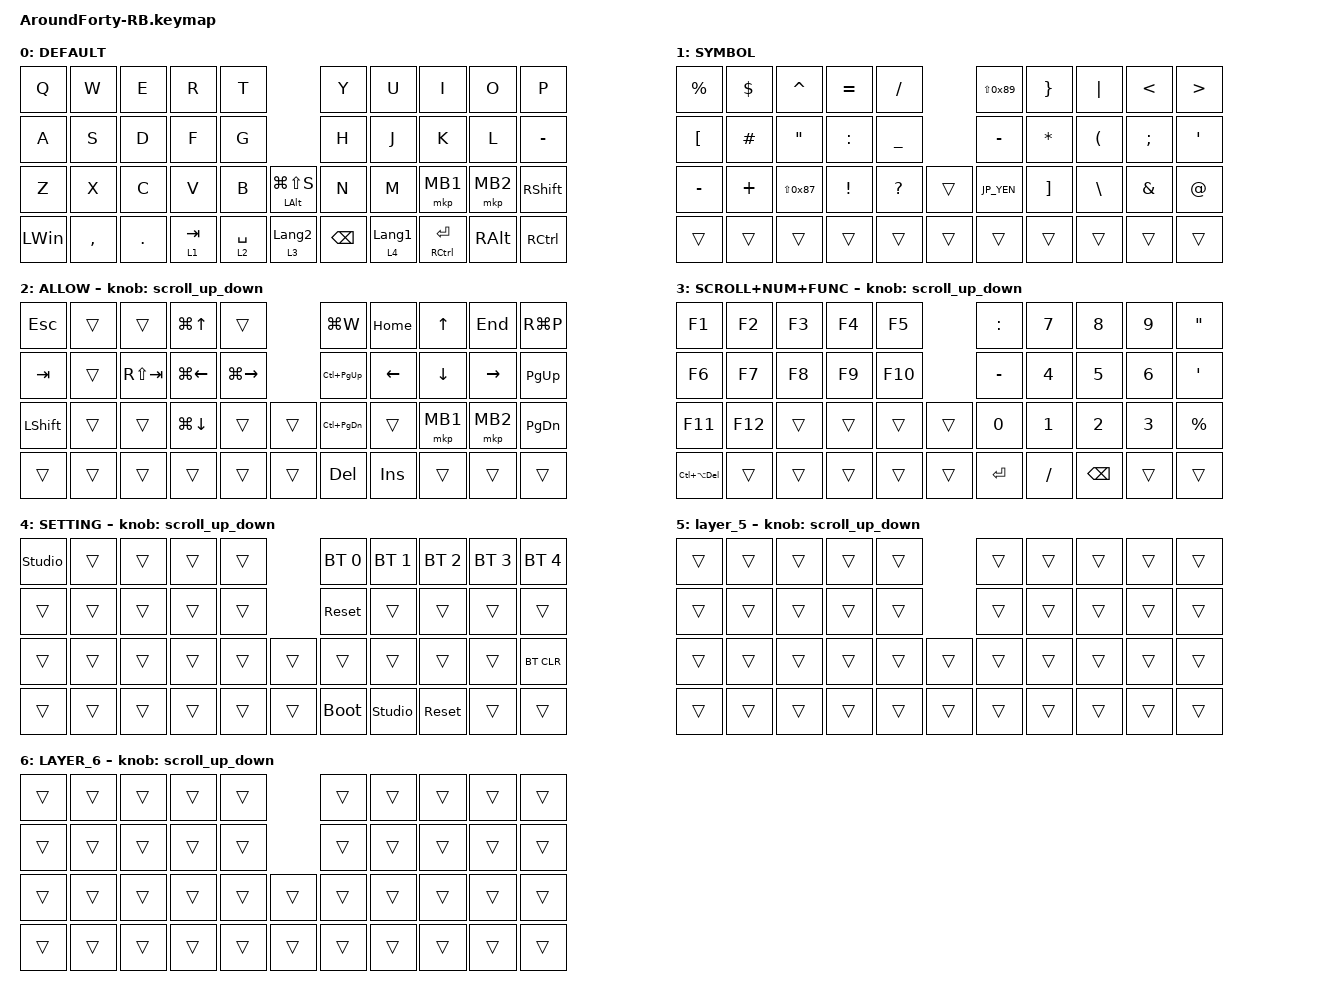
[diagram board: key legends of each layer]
#include <behaviors/rgbled_widget.dtsi>
#include <behaviors.dtsi>
#include <dt-bindings/zmk/bt.h>
#include <dt-bindings/zmk/keys.h>
#include <dt-bindings/zmk/pointing.h>

#undef ZMK_POINTING_DEFAULT_SCRL_VAL

#define ZMK_POINTING_DEFAULT_SCRL_VAL 100
#define MOUSE 6

// OS設定を日本語キーボードのまま使用するための変換定義

#define JP_DQUOTE       AT                // "
#define JP_AMPERSAND    CARET             // &
#define JP_QUOTE        AMPERSAND         // '
#define JP_EQUAL        UNDER             // =
#define JP_CARET        EQUAL             // ^
#define JP_YEN          0x89              // ¥
#define JP_PLUS         COLON             // +
#define JP_TILDE        PLUS              // ~
#define JP_PIPE         LS(0x89)          // |
#define JP_AT           LEFT_BRACKET      // @
#define JP_COLON        SINGLE_QUOTE      // :
#define JP_ASTERISK     DOUBLE_QUOTES     // *
#define JP_BACKQUOTE    LEFT_BRACE        // `
#define JP_UNDERSCORE   LS(0x87)          // _
#define JP_LBRACKET     RIGHT_BRACKET     // [
#define JP_RBRACKET     BACKSLASH         // ]
#define JP_LPAREN       ASTERISK          // (
#define JP_RPAREN       LEFT_PARENTHESIS  // )
#define JP_LBRACE       RIGHT_BRACE       // {
#define JP_RBRACE       PIPE              // }
#define JP_KANA         LANGUAGE_1        // かな
#define JP_EISU         LANGUAGE_2        // 英数
#define JP_HANZEN       GRAVE             // 半角/全角

&mt {
    flavor = "balanced";
    quick-tap-ms = <0>;
};

/ {
    combos { compatible = "zmk,combos"; };

    macros {
        to_layer_0: to_layer_0 {
            compatible = "zmk,behavior-macro-one-param";
            #binding-cells = <1>;
            bindings = <&to 0 &macro_param_1to1 &kp MACRO_PLACEHOLDER>;
            label = "TO_LAYER_0";
        };
    };

    behaviors {
        lt_to_layer_0: lt_to_layer_0 {
            compatible = "zmk,behavior-hold-tap";
            label = "LAYER_TAP_TO_0";
            bindings = <&mo>, <&to_layer_0>;

            #binding-cells = <2>;
            tapping-term-ms = <200>;
        };

        scroll_up_down: behavior_sensor_rotate_mouse_wheel_up_down {
            compatible = "zmk,behavior-sensor-rotate";
            #sensor-binding-cells = <0>;
            bindings = <&msc SCRL_DOWN>, <&msc SCRL_UP>;

            tap-ms = <20>;
        };
    };

    keymap {
        compatible = "zmk,keymap";

        DEFAULT {
            bindings = <
&kp Q         &kp W      &kp E       &kp R      &kp T                                &kp Y          &kp U             &kp I             &kp O          &kp P
&kp A         &kp S      &kp D       &kp F      &kp G                                &kp H          &kp J             &kp K             &kp L          &kp MINUS
&kp Z         &kp X      &kp C       &kp V      &kp B        &mt LEFT_ALT LG(LS(S))  &kp N          &kp M             &mkp MB1          &mkp MB2       &kp RIGHT_SHIFT
&kp LEFT_WIN  &kp COMMA  &kp PERIOD  &lt 1 TAB  &lt 2 SPACE  &lt 3 LANGUAGE_2        &kp BACKSPACE  &lt 4 LANGUAGE_1  &mt RCTRL RETURN  &kp RIGHT_ALT  &kp RCTRL
            >;
        };

        SYMBOL {
            bindings = <
&kp PERCENT  &kp DOLLAR    &kp JP_AMPERSAND   &kp JP_CARET     &kp SLASH             &kp JP_PIPE  &kp JP_LBRACE    &kp JP_RBRACE    &kp LESS_THAN  &kp GREATER_THAN
&kp JP_AT    &kp HASH      &kp JP_ASTERISK    &kp JP_PLUS      &kp JP_EQUAL          &kp MINUS    &kp JP_LPAREN    &kp JP_RPAREN    &kp SEMICOLON  &kp JP_COLON
&kp MINUS    &kp JP_TILDE  &kp JP_UNDERSCORE  &kp EXCLAMATION  &kp QUESTION  &trans  &kp JP_YEN   &kp JP_LBRACKET  &kp JP_RBRACKET  &kp JP_QUOTE   &kp JP_DQUOTE
&trans       &trans        &trans             &trans           &trans        &trans  &trans       &trans           &trans           &trans         &trans
            >;
        };

        ALLOW {
            bindings = <
&kp ESCAPE      &trans  &trans       &kp LG(UP_ARROW)    &trans                       &kp LG(W)          &kp HOME        &kp UP          &kp END          &kp RG(P)
&kp TAB         &trans  &kp RS(TAB)  &kp LG(LEFT_ARROW)  &kp LG(RIGHT_ARROW)          &kp LC(PAGE_UP)    &kp LEFT_ARROW  &kp DOWN_ARROW  &kp RIGHT_ARROW  &kp PAGE_UP
&kp LEFT_SHIFT  &trans  &trans       &kp LG(DOWN_ARROW)  &trans               &trans  &kp LC(PAGE_DOWN)  &trans          &mkp MB1        &mkp MB2         &kp PAGE_DOWN
&trans          &trans  &trans       &trans              &trans               &trans  &kp DEL            &kp INS         &trans          &trans           &trans
            >;

            sensor-bindings = <&scroll_up_down>;
        };

        SCROLL+NUM+FUNC {
            bindings = <
&kp F1           &kp F2   &kp F3  &kp F4  &kp F5           &kp JP_PLUS   &kp NUMBER_7  &kp NUMBER_8   &kp NUMBER_9  &kp JP_ASTERISK
&kp F6           &kp F7   &kp F8  &kp F9  &kp F10          &kp MINUS     &kp NUMBER_4  &kp NUMBER_5   &kp NUMBER_6  &kp JP_COLON
&kp F11          &kp F12  &trans  &trans  &trans   &trans  &kp NUMBER_0  &kp NUMBER_1  &kp NUMBER_2   &kp NUMBER_3  &kp PERCENT
&kp LC(LA(DEL))  &trans   &trans  &trans  &trans   &trans  &kp ENTER     &kp SLASH     &kp BACKSPACE  &trans        &trans
            >;

            sensor-bindings = <&scroll_up_down>;
        };

        SETTING {
            bindings = <
&studio_unlock  &trans  &trans  &trans  &trans          &bt BT_SEL 0  &bt BT_SEL 1    &bt BT_SEL 2  &bt BT_SEL 3  &bt BT_SEL 4
&trans          &trans  &trans  &trans  &trans          &sys_reset    &trans          &trans        &trans        &trans
&trans          &trans  &trans  &trans  &trans  &trans  &trans        &trans          &trans        &trans        &bt BT_CLR
&trans          &trans  &trans  &trans  &trans  &trans  &bootloader   &studio_unlock  &sys_reset    &trans        &trans
            >;

            sensor-bindings = <&scroll_up_down>;
        };

        layer_5 {
            bindings = <
&trans  &trans  &trans  &trans  &trans          &trans  &trans  &trans  &trans  &trans
&trans  &trans  &trans  &trans  &trans          &trans  &trans  &trans  &trans  &trans
&trans  &trans  &trans  &trans  &trans  &trans  &trans  &trans  &trans  &trans  &trans
&trans  &trans  &trans  &trans  &trans  &trans  &trans  &trans  &trans  &trans  &trans
            >;

            sensor-bindings = <&scroll_up_down>;
        };

        LAYER_6 {
            bindings = <
&trans  &trans  &trans  &trans  &trans          &trans  &trans  &trans  &trans  &trans
&trans  &trans  &trans  &trans  &trans          &trans  &trans  &trans  &trans  &trans
&trans  &trans  &trans  &trans  &trans  &trans  &trans  &trans  &trans  &trans  &trans
&trans  &trans  &trans  &trans  &trans  &trans  &trans  &trans  &trans  &trans  &trans
            >;

            sensor-bindings = <&scroll_up_down>;
        };
    };
};
